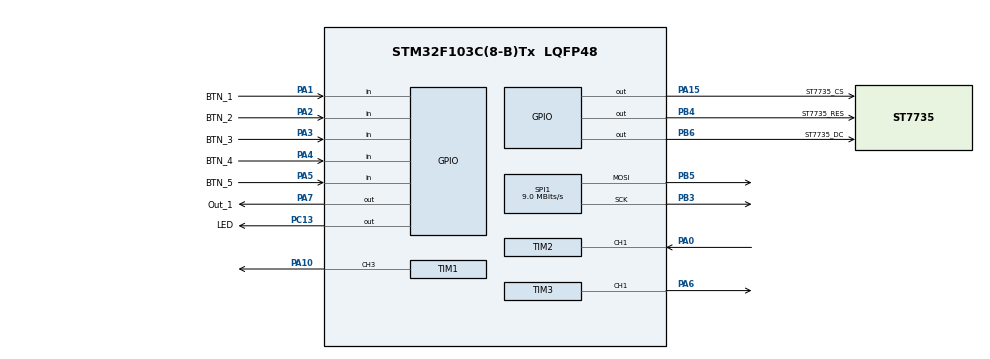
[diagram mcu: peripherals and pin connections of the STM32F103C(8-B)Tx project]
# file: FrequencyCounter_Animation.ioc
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Dma.Request0=TIM2_CH2/CH4
Dma.Request1=TIM2_CH1
Dma.TIM2_CH1.1.Direction=DMA_PERIPH_TO_MEMORY
Dma.TIM2_CH1.1.Instance=DMA1_Channel5
Dma.TIM2_CH1.1.MemDataAlignment=DMA_MDATAALIGN_HALFWORD
Dma.TIM2_CH1.1.MemInc=DMA_MINC_DISABLE
Dma.TIM2_CH1.1.Mode=DMA_CIRCULAR
Dma.TIM2_CH1.1.PeriphDataAlignment=DMA_PDATAALIGN_HALFWORD
Dma.TIM2_CH1.1.PeriphInc=DMA_PINC_DISABLE
Dma.TIM2_CH1.1.Priority=DMA_PRIORITY_VERY_HIGH
Dma.TIM2_CH2/CH4.0.Direction=DMA_PERIPH_TO_MEMORY
Dma.TIM2_CH2/CH4.0.Instance=DMA1_Channel7
Dma.TIM2_CH2/CH4.0.MemDataAlignment=DMA_MDATAALIGN_HALFWORD
Dma.TIM2_CH2/CH4.0.MemInc=DMA_MINC_DISABLE
Dma.TIM2_CH2/CH4.0.Mode=DMA_CIRCULAR
Dma.TIM2_CH2/CH4.0.PeriphDataAlignment=DMA_PDATAALIGN_HALFWORD
Dma.TIM2_CH2/CH4.0.PeriphInc=DMA_PINC_DISABLE
Dma.TIM2_CH2/CH4.0.Priority=DMA_PRIORITY_VERY_HIGH
Mcu.Family=STM32F1
Mcu.Name=STM32F103C(8-B)Tx
Mcu.Package=LQFP48
NVIC.PriorityGroup=NVIC_PRIORITYGROUP_4
PA0-WKUP.Signal=S_TIM2_CH1_ETR
PA1.GPIO_Label=BTN_1
PA1.Signal=GPIO_Input
PA10.Signal=S_TIM1_CH3
PA13.Mode=Serial_Wire
PA13.Signal=SYS_JTMS-SWDIO
PA14.Mode=Serial_Wire
PA14.Signal=SYS_JTCK-SWCLK
PA15.GPIO_Label=ST7735_CS
PA15.GPIO_Speed=GPIO_SPEED_FREQ_MEDIUM
PA15.Signal=GPIO_Output
PA2.GPIO_Label=BTN_2
PA2.Signal=GPIO_Input
PA3.GPIO_Label=BTN_3
PA3.Signal=GPIO_Input
PA4.GPIO_Label=BTN_4
PA4.Signal=GPIO_Input
PA5.GPIO_Label=BTN_5
PA5.Signal=GPIO_Input
PA6.GPIO_Speed=GPIO_SPEED_FREQ_HIGH
PA6.Signal=S_TIM3_CH1
PA7.GPIO_Label=Out_1
PA7.Signal=GPIO_Output
PB3.Mode=TX_Only_Simplex_Unidirect_Master
PB3.Signal=SPI1_SCK
PB4.GPIO_Label=ST7735_RES
PB4.GPIO_Speed=GPIO_SPEED_FREQ_MEDIUM
PB4.Signal=GPIO_Output
PB5.Mode=TX_Only_Simplex_Unidirect_Master
PB5.Signal=SPI1_MOSI
PB6.GPIO_Label=ST7735_DC
PB6.GPIO_Speed=GPIO_SPEED_FREQ_MEDIUM
PB6.Signal=GPIO_Output
PC13-TAMPER-RTC.GPIO_Label=LED
PC13-TAMPER-RTC.Signal=GPIO_Output
PC14-OSC32_IN.Mode=LSE-External-Oscillator
PC14-OSC32_IN.Signal=RCC_OSC32_IN
PC15-OSC32_OUT.Mode=LSE-External-Oscillator
PC15-OSC32_OUT.Signal=RCC_OSC32_OUT
PD0-OSC_IN.Mode=HSE-External-Oscillator
PD0-OSC_IN.Signal=RCC_OSC_IN
PD1-OSC_OUT.Mode=HSE-External-Oscillator
PD1-OSC_OUT.Signal=RCC_OSC_OUT
ProjectManager.HeapSize=0x200
ProjectManager.StackSize=0x400
ProjectManager.TargetToolchain=STM32CubeIDE
RCC.AHBFreq_Value=72000000
RCC.APB1CLKDivider=RCC_HCLK_DIV2
RCC.APB1Freq_Value=36000000
RCC.APB1TimFreq_Value=72000000
RCC.APB2Freq_Value=72000000
RCC.APB2TimFreq_Value=72000000
RCC.HCLKFreq_Value=72000000
RCC.PLLMUL=RCC_PLL_MUL9
RCC.PLLSourceVirtual=RCC_PLLSOURCE_HSE
RCC.SYSCLKFreq_VALUE=72000000
RCC.SYSCLKSource=RCC_SYSCLKSOURCE_PLLCLK
RCC.USBFreq_Value=72000000
SH.S_TIM1_CH3.0=TIM1_CH3,PWM Generation3 CH3
SH.S_TIM2_CH1_ETR.0=TIM2_CH1,TriggerSource_TI1FP1
SH.S_TIM2_CH1_ETR.1=TIM2_CH1,Input_Capture1_from_TI1
SH.S_TIM3_CH1.0=TIM3_CH1,PWM Generation1 CH1
SPI1.BaudRatePrescaler=SPI_BAUDRATEPRESCALER_8
SPI1.CLKPhase=SPI_PHASE_1EDGE
SPI1.CLKPolarity=SPI_POLARITY_LOW
SPI1.CalculateBaudRate=9.0 MBits/s
SPI1.Direction=SPI_DIRECTION_2LINES
SPI1.Mode=SPI_MODE_MASTER
SPI1.VirtualType=VM_MASTER
TIM1.Channel-PWM\ Generation3\ CH3=TIM_CHANNEL_3
TIM1.Period=71
TIM1.Pulse-PWM\ Generation3\ CH3=36
TIM2.Channel-Input_Capture1_from_TI1=TIM_CHANNEL_1
TIM2.Channel-Input_Capture2_from_TI1_63=TIM_CHANNEL_2
TIM2.ICPolarity_CH2=TIM_INPUTCHANNELPOLARITY_FALLING
TIM3.Channel-PWM\ Generation1\ CH1=TIM_CHANNEL_1
TIM3.Period=100
TIM3.Prescaler=71
TIM3.Pulse-PWM\ Generation1\ CH1=80
VP_TIM1_VS_ClockSourceINT.Mode=Internal
VP_TIM2_VS_ClockSourceINT.Mode=Internal
VP_TIM2_VS_ControllerModeReset.Mode=Reset Mode
VP_TIM2_VS_indirect_ch1.Mode=Input_Capture2_from_TI1_63
VP_TIM3_VS_ClockSourceINT.Mode=Internal
board=custom

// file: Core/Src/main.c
/* USER CODE BEGIN Header */
/**
  ******************************************************************************
  * @file           : main.c
  * @brief          : Main program body
  ******************************************************************************
  * @attention
  *
  * Copyright (c) 2026 STMicroelectronics.
  * All rights reserved.
  *
  * This software is licensed under terms that can be found in the LICENSE file
  * in the root directory of this software component.
  * If no LICENSE file comes with this software, it is provided AS-IS.
  *
  ******************************************************************************
  */
/* USER CODE END Header */
#include "main.h"

/* USER CODE BEGIN Includes */

#include <stdio.h>
#include <math.h>
#include <string.h>
#include "delay.h"
#include "st7735s_ll.h"
#include "FreeSans8pt7b.h"
#include "FreeSans9pt7b.h"
#include "FreeSans10pt7b.h"
#include "fonts.h"
#include "picts.h"
#include "fpCounter.h"

/* USER CODE END Includes */

/* USER CODE BEGIN PD */

//#define FPCOUNTER_TIM_USE_LL
//#define FPCOUNTER_USE_DMA

#define TIM2_MAX   0xFFFF
#define TIM2_CLK   72000000.0f
#define PRESCAALER 0

#define CLIMBER_W  13
#define CLIMBER_H  50

/* USER CODE END PD */

/* USER CODE BEGIN PV */
extern const tImage* StairmanFrames[28];

volatile uint8_t  cap_done      = 0;
volatile uint32_t msTick        = 0;
volatile uint32_t measure_timer = 0;
volatile uint8_t  measuring     = 0;
static uint32_t last_anim_ms    = 0;

double period;
uint32_t frequency;
float duty;

static uint8_t frame = 0;
static uint8_t frame_done = 0;
static uint8_t frame_action = 0;
static uint8_t frame_pause = 0;
static uint32_t anim_pause = 0;
static int anim_x = 112;
static int anim_y = 36;

/* USER CODE END PV */

void SystemClock_Config(void);
static void MX_GPIO_Init(void);
static void MX_DMA_Init(void);
static void MX_SPI1_Init(void);
static void MX_TIM3_Init(void);
static void MX_TIM1_Init(void);
static void MX_TIM2_Init(void);
/* USER CODE BEGIN PFP */

void format_frequency(float freq, char *buf);
void draw_frequency(float f);
void draw_duty(float d);
void draw_waveform(float duty);
void float_to_str(char *buf, float f);
char* itoa(int value, char* buffer, int base);
static inline uint32_t ic_diff(uint32_t newer, uint32_t older);
static inline float f_abs(float x);
void Stairman_Update(uint32_t tick);

/* USER CODE END PFP */

int main(void)
{

  /* MCU Configuration--------------------------------------------------------*/

  /* Reset of all peripherals, Initializes the Flash interface and the Systick. */
  LL_APB2_GRP1_EnableClock(LL_APB2_GRP1_PERIPH_AFIO);
  LL_APB1_GRP1_EnableClock(LL_APB1_GRP1_PERIPH_PWR);

  /* System interrupt init*/
  NVIC_SetPriorityGrouping(NVIC_PRIORITYGROUP_4);

  /* SysTick_IRQn interrupt configuration */
  NVIC_SetPriority(SysTick_IRQn, NVIC_EncodePriority(NVIC_GetPriorityGrouping(),15, 0));

  LL_GPIO_AF_Remap_SWJ_NOJTAG();

  /* Configure the system clock */
  SystemClock_Config();

  /* USER CODE BEGIN SysInit */
  SysTick_Config(SystemCoreClock / 1000);
  /* USER CODE END SysInit */

  /* Initialize all configured peripherals */
  MX_GPIO_Init();
  MX_DMA_Init();
  MX_SPI1_Init();
  MX_TIM3_Init();
  MX_TIM1_Init();
  MX_TIM2_Init();
  /* USER CODE BEGIN 2 */
  LL_TIM_EnableCounter(TIM1);
  LL_TIM_EnableAllOutputs(TIM1);

  LL_APB2_GRP1_EnableClock(LL_APB2_GRP1_PERIPH_GPIOA);

  LL_APB2_GRP1_EnableClock(LL_APB2_GRP1_PERIPH_GPIOB);
  LL_APB2_GRP1_EnableClock(LL_APB2_GRP1_PERIPH_SPI1);

  fpCounter_p_init();

  ST7735_Init();
  ST7735_SetRotation(0);

  ST7735_FillScreen(ST7735_WHITE);
  delay_ms(500);

  ST7735_FillScreen(ST7735_BLACK);
  delay_ms(500);

  /* USER CODE END 2 */

  /* Infinite loop */
  /* USER CODE BEGIN WHILE */
  while (1)
  {

	  //  Stairman_Update(40);
	  //  run animation every 40 ms, regardless of measuring

	  if ((msTick - last_anim_ms) >= 40)
	  {
	      last_anim_ms = msTick;
	      Stairman_Update(msTick);
	  }

	  if(frame_pause)// set pause
	  {
		  frame_pause = 0;
		  anim_pause = msTick;//set pause period
	  }
	  if(msTick - anim_pause > 4000)
	  {
		  if (frame_action == 2 && msTick - anim_pause > 4000)
		  {
		      frame_action = 3;   // start falling
		      frame = 0;
		  }

	  }
	  if (frame_action == 0 && msTick - anim_pause > 3000)
	  {
	      frame_action = 1;   // start climbing
	  }
#if 1
	  if (frame_done && (msTick - measure_timer) >= 250)
	  {
	      measure_timer = msTick;

	      fpCounter_p_get(&period, &frequency, &duty);

		  draw_frequency(frequency);
		  draw_duty(duty);
		  //draw_waveform(duty);
		  frame_done = 0;

      }

#endif

    /* USER CODE END WHILE */

  }
}

void SystemClock_Config(void)
{
  LL_FLASH_SetLatency(LL_FLASH_LATENCY_2);
  while(LL_FLASH_GetLatency()!= LL_FLASH_LATENCY_2)
  {
  }
  LL_RCC_HSE_Enable();

   /* Wait till HSE is ready */
  while(LL_RCC_HSE_IsReady() != 1)
  {

  }
  LL_RCC_PLL_ConfigDomain_SYS(LL_RCC_PLLSOURCE_HSE_DIV_1, LL_RCC_PLL_MUL_9);
  LL_RCC_PLL_Enable();

   /* Wait till PLL is ready */
  while(LL_RCC_PLL_IsReady() != 1)
  {

  }
  LL_RCC_SetAHBPrescaler(LL_RCC_SYSCLK_DIV_1);
  LL_RCC_SetAPB1Prescaler(LL_RCC_APB1_DIV_2);
  LL_RCC_SetAPB2Prescaler(LL_RCC_APB2_DIV_1);
  LL_RCC_SetSysClkSource(LL_RCC_SYS_CLKSOURCE_PLL);

   /* Wait till System clock is ready */
  while(LL_RCC_GetSysClkSource() != LL_RCC_SYS_CLKSOURCE_STATUS_PLL)
  {

  }
  LL_Init1msTick(72000000);
  LL_SetSystemCoreClock(72000000);
}

static void MX_SPI1_Init(void)
{

  LL_SPI_InitTypeDef SPI_InitStruct = {0};

  LL_GPIO_InitTypeDef GPIO_InitStruct = {0};

  /* Peripheral clock enable */
  LL_APB2_GRP1_EnableClock(LL_APB2_GRP1_PERIPH_SPI1);

  LL_APB2_GRP1_EnableClock(LL_APB2_GRP1_PERIPH_GPIOB);
  /**SPI1 GPIO Configuration
  PB3   ------> SPI1_SCK
  PB5   ------> SPI1_MOSI
  */
  GPIO_InitStruct.Pin = LL_GPIO_PIN_3|LL_GPIO_PIN_5;
  GPIO_InitStruct.Mode = LL_GPIO_MODE_ALTERNATE;
  GPIO_InitStruct.Speed = LL_GPIO_SPEED_FREQ_HIGH;
  GPIO_InitStruct.OutputType = LL_GPIO_OUTPUT_PUSHPULL;
  LL_GPIO_Init(GPIOB, &GPIO_InitStruct);

  LL_GPIO_AF_EnableRemap_SPI1();

  /* SPI1 parameter configuration*/
  SPI_InitStruct.TransferDirection = LL_SPI_FULL_DUPLEX;
  SPI_InitStruct.Mode = LL_SPI_MODE_MASTER;
  SPI_InitStruct.DataWidth = LL_SPI_DATAWIDTH_8BIT;
  SPI_InitStruct.ClockPolarity = LL_SPI_POLARITY_LOW;
  SPI_InitStruct.ClockPhase = LL_SPI_PHASE_1EDGE;
  SPI_InitStruct.NSS = LL_SPI_NSS_SOFT;
  SPI_InitStruct.BaudRate = LL_SPI_BAUDRATEPRESCALER_DIV8;
  SPI_InitStruct.BitOrder = LL_SPI_MSB_FIRST;
  SPI_InitStruct.CRCCalculation = LL_SPI_CRCCALCULATION_DISABLE;
  SPI_InitStruct.CRCPoly = 10;
  LL_SPI_Init(SPI1, &SPI_InitStruct);
  /* USER CODE BEGIN SPI1_Init 2 */
  LL_SPI_Enable(SPI1);
  /* USER CODE END SPI1_Init 2 */

}

static void MX_TIM1_Init(void)
{

  LL_TIM_InitTypeDef TIM_InitStruct = {0};
  LL_TIM_OC_InitTypeDef TIM_OC_InitStruct = {0};
  LL_TIM_BDTR_InitTypeDef TIM_BDTRInitStruct = {0};

  LL_GPIO_InitTypeDef GPIO_InitStruct = {0};

  /* Peripheral clock enable */
  LL_APB2_GRP1_EnableClock(LL_APB2_GRP1_PERIPH_TIM1);

  TIM_InitStruct.Prescaler = 0;
  TIM_InitStruct.CounterMode = LL_TIM_COUNTERMODE_UP;
  TIM_InitStruct.Autoreload = 35;
  TIM_InitStruct.ClockDivision = LL_TIM_CLOCKDIVISION_DIV1;
  TIM_InitStruct.RepetitionCounter = 0;
  LL_TIM_Init(TIM1, &TIM_InitStruct);
  LL_TIM_DisableARRPreload(TIM1);
  LL_TIM_SetClockSource(TIM1, LL_TIM_CLOCKSOURCE_INTERNAL);
  LL_TIM_OC_EnablePreload(TIM1, LL_TIM_CHANNEL_CH3);
  TIM_OC_InitStruct.OCMode = LL_TIM_OCMODE_PWM1;
  TIM_OC_InitStruct.OCState = LL_TIM_OCSTATE_DISABLE;
  TIM_OC_InitStruct.OCNState = LL_TIM_OCSTATE_DISABLE;
  TIM_OC_InitStruct.CompareValue = 18;
  TIM_OC_InitStruct.OCPolarity = LL_TIM_OCPOLARITY_HIGH;
  TIM_OC_InitStruct.OCNPolarity = LL_TIM_OCPOLARITY_HIGH;
  TIM_OC_InitStruct.OCIdleState = LL_TIM_OCIDLESTATE_LOW;
  TIM_OC_InitStruct.OCNIdleState = LL_TIM_OCIDLESTATE_LOW;
  LL_TIM_OC_Init(TIM1, LL_TIM_CHANNEL_CH3, &TIM_OC_InitStruct);
  LL_TIM_OC_DisableFast(TIM1, LL_TIM_CHANNEL_CH3);
  LL_TIM_SetTriggerOutput(TIM1, LL_TIM_TRGO_RESET);
  LL_TIM_DisableMasterSlaveMode(TIM1);
  TIM_BDTRInitStruct.OSSRState = LL_TIM_OSSR_DISABLE;
  TIM_BDTRInitStruct.OSSIState = LL_TIM_OSSI_DISABLE;
  TIM_BDTRInitStruct.LockLevel = LL_TIM_LOCKLEVEL_OFF;
  TIM_BDTRInitStruct.DeadTime = 0;
  TIM_BDTRInitStruct.BreakState = LL_TIM_BREAK_DISABLE;
  TIM_BDTRInitStruct.BreakPolarity = LL_TIM_BREAK_POLARITY_HIGH;
  TIM_BDTRInitStruct.AutomaticOutput = LL_TIM_AUTOMATICOUTPUT_DISABLE;
  LL_TIM_BDTR_Init(TIM1, &TIM_BDTRInitStruct);
  /* USER CODE BEGIN TIM1_Init 2 */
  LL_TIM_CC_EnableChannel(TIM1, LL_TIM_CHANNEL_CH3);
  LL_TIM_EnableAllOutputs(TIM1);
  LL_TIM_EnableCounter(TIM1);
  /* USER CODE END TIM1_Init 2 */
  LL_APB2_GRP1_EnableClock(LL_APB2_GRP1_PERIPH_GPIOA);
  /**TIM1 GPIO Configuration
  PA10   ------> TIM1_CH3
  */
  GPIO_InitStruct.Pin = LL_GPIO_PIN_10;
  GPIO_InitStruct.Mode = LL_GPIO_MODE_ALTERNATE;
  GPIO_InitStruct.Speed = LL_GPIO_SPEED_FREQ_LOW;
  GPIO_InitStruct.OutputType = LL_GPIO_OUTPUT_PUSHPULL;
  LL_GPIO_Init(GPIOA, &GPIO_InitStruct);

}

static void MX_TIM2_Init(void)
{

  LL_TIM_InitTypeDef TIM_InitStruct = {0};

  LL_GPIO_InitTypeDef GPIO_InitStruct = {0};

  /* Peripheral clock enable */
  LL_APB1_GRP1_EnableClock(LL_APB1_GRP1_PERIPH_TIM2);

  LL_APB2_GRP1_EnableClock(LL_APB2_GRP1_PERIPH_GPIOA);
  /**TIM2 GPIO Configuration
  PA0-WKUP   ------> TIM2_CH1
  */
  GPIO_InitStruct.Pin = LL_GPIO_PIN_0;
  GPIO_InitStruct.Mode = LL_GPIO_MODE_FLOATING;
  LL_GPIO_Init(GPIOA, &GPIO_InitStruct);

  /* TIM2 DMA Init */

  /* TIM2_CH2_CH4 Init */

  LL_DMA_SetDataTransferDirection(DMA1, LL_DMA_CHANNEL_7, LL_DMA_DIRECTION_PERIPH_TO_MEMORY);

  LL_DMA_SetChannelPriorityLevel(DMA1, LL_DMA_CHANNEL_7, LL_DMA_PRIORITY_VERYHIGH);

  LL_DMA_SetMode(DMA1, LL_DMA_CHANNEL_7, LL_DMA_MODE_CIRCULAR);

  LL_DMA_SetPeriphIncMode(DMA1, LL_DMA_CHANNEL_7, LL_DMA_PERIPH_NOINCREMENT);

  LL_DMA_SetMemoryIncMode(DMA1, LL_DMA_CHANNEL_7, LL_DMA_MEMORY_NOINCREMENT);

  LL_DMA_SetPeriphSize(DMA1, LL_DMA_CHANNEL_7, LL_DMA_PDATAALIGN_HALFWORD);

  LL_DMA_SetMemorySize(DMA1, LL_DMA_CHANNEL_7, LL_DMA_MDATAALIGN_HALFWORD);

  /* TIM2_CH1 Init */
  LL_DMA_SetDataTransferDirection(DMA1, LL_DMA_CHANNEL_5, LL_DMA_DIRECTION_PERIPH_TO_MEMORY);

  LL_DMA_SetChannelPriorityLevel(DMA1, LL_DMA_CHANNEL_5, LL_DMA_PRIORITY_VERYHIGH);

  LL_DMA_SetMode(DMA1, LL_DMA_CHANNEL_5, LL_DMA_MODE_CIRCULAR);

  LL_DMA_SetPeriphIncMode(DMA1, LL_DMA_CHANNEL_5, LL_DMA_PERIPH_NOINCREMENT);

  LL_DMA_SetMemoryIncMode(DMA1, LL_DMA_CHANNEL_5, LL_DMA_MEMORY_NOINCREMENT);

  LL_DMA_SetPeriphSize(DMA1, LL_DMA_CHANNEL_5, LL_DMA_PDATAALIGN_HALFWORD);

  LL_DMA_SetMemorySize(DMA1, LL_DMA_CHANNEL_5, LL_DMA_MDATAALIGN_HALFWORD);

  TIM_InitStruct.Prescaler = 0;
  TIM_InitStruct.CounterMode = LL_TIM_COUNTERMODE_UP;
  TIM_InitStruct.Autoreload = 65535;
  TIM_InitStruct.ClockDivision = LL_TIM_CLOCKDIVISION_DIV1;
  LL_TIM_Init(TIM2, &TIM_InitStruct);
  LL_TIM_DisableARRPreload(TIM2);
  LL_TIM_SetClockSource(TIM2, LL_TIM_CLOCKSOURCE_INTERNAL);
  LL_TIM_SetTriggerInput(TIM2, LL_TIM_TS_TI1FP1);
  LL_TIM_SetSlaveMode(TIM2, LL_TIM_SLAVEMODE_RESET);
  LL_TIM_IC_SetFilter(TIM2, LL_TIM_CHANNEL_CH1, LL_TIM_IC_FILTER_FDIV1);
  LL_TIM_IC_SetPolarity(TIM2, LL_TIM_CHANNEL_CH1, LL_TIM_IC_POLARITY_RISING);
  LL_TIM_DisableIT_TRIG(TIM2);
  LL_TIM_DisableDMAReq_TRIG(TIM2);
  LL_TIM_SetTriggerOutput(TIM2, LL_TIM_TRGO_RESET);
  LL_TIM_DisableMasterSlaveMode(TIM2);
  LL_TIM_IC_SetActiveInput(TIM2, LL_TIM_CHANNEL_CH1, LL_TIM_ACTIVEINPUT_DIRECTTI);
  LL_TIM_IC_SetPrescaler(TIM2, LL_TIM_CHANNEL_CH1, LL_TIM_ICPSC_DIV1);
  LL_TIM_IC_SetActiveInput(TIM2, LL_TIM_CHANNEL_CH2, LL_TIM_ACTIVEINPUT_INDIRECTTI);
  LL_TIM_IC_SetPrescaler(TIM2, LL_TIM_CHANNEL_CH2, LL_TIM_ICPSC_DIV1);
  LL_TIM_IC_SetFilter(TIM2, LL_TIM_CHANNEL_CH2, LL_TIM_IC_FILTER_FDIV1);
  LL_TIM_IC_SetPolarity(TIM2, LL_TIM_CHANNEL_CH2, LL_TIM_IC_POLARITY_FALLING);
  /* USER CODE BEGIN TIM2_Init 2 */
  // Disable filter on Channel 1 (Clear bits 7:4)
  TIM2->CCMR1 &= ~TIM_CCMR1_IC1F;
  // Disable filter on Channel 2 (Clear bits 15:12)
  TIM2->CCMR1 &= ~TIM_CCMR1_IC2F;
  //LL_TIM_IC_SetFilter(TIMx, LL_TIM_CHANNEL_CH1, 0);
  //LL_TIM_IC_SetFilter(TIMx, LL_TIM_CHANNEL_CH2, 0);

  /* USER CODE END TIM2_Init 2 */

}

static void MX_TIM3_Init(void)
{

  LL_TIM_InitTypeDef TIM_InitStruct = {0};
  LL_TIM_OC_InitTypeDef TIM_OC_InitStruct = {0};

  LL_GPIO_InitTypeDef GPIO_InitStruct = {0};

  /* Peripheral clock enable */
  LL_APB1_GRP1_EnableClock(LL_APB1_GRP1_PERIPH_TIM3);

  TIM_InitStruct.Prescaler = 71;
  TIM_InitStruct.CounterMode = LL_TIM_COUNTERMODE_UP;
  TIM_InitStruct.Autoreload = 100;
  TIM_InitStruct.ClockDivision = LL_TIM_CLOCKDIVISION_DIV1;
  LL_TIM_Init(TIM3, &TIM_InitStruct);
  LL_TIM_DisableARRPreload(TIM3);
  LL_TIM_SetClockSource(TIM3, LL_TIM_CLOCKSOURCE_INTERNAL);
  LL_TIM_OC_EnablePreload(TIM3, LL_TIM_CHANNEL_CH1);
  TIM_OC_InitStruct.OCMode = LL_TIM_OCMODE_PWM1;
  TIM_OC_InitStruct.OCState = LL_TIM_OCSTATE_DISABLE;
  TIM_OC_InitStruct.OCNState = LL_TIM_OCSTATE_DISABLE;
  TIM_OC_InitStruct.CompareValue = 80;
  TIM_OC_InitStruct.OCPolarity = LL_TIM_OCPOLARITY_HIGH;
  LL_TIM_OC_Init(TIM3, LL_TIM_CHANNEL_CH1, &TIM_OC_InitStruct);
  LL_TIM_OC_DisableFast(TIM3, LL_TIM_CHANNEL_CH1);
  LL_TIM_SetTriggerOutput(TIM3, LL_TIM_TRGO_RESET);
  LL_TIM_DisableMasterSlaveMode(TIM3);
  /* USER CODE BEGIN TIM3_Init 2 */
  LL_TIM_EnableCounter(TIM3);
  LL_TIM_CC_EnableChannel(TIM3, LL_TIM_CHANNEL_CH1);
  /* USER CODE END TIM3_Init 2 */
  LL_APB2_GRP1_EnableClock(LL_APB2_GRP1_PERIPH_GPIOA);
  /**TIM3 GPIO Configuration
  PA6   ------> TIM3_CH1
  */
  GPIO_InitStruct.Pin = LL_GPIO_PIN_6;
  GPIO_InitStruct.Mode = LL_GPIO_MODE_ALTERNATE;
  GPIO_InitStruct.Speed = LL_GPIO_SPEED_FREQ_HIGH;
  GPIO_InitStruct.OutputType = LL_GPIO_OUTPUT_PUSHPULL;
  LL_GPIO_Init(GPIOA, &GPIO_InitStruct);

}

static void MX_DMA_Init(void)
{

  /* Init with LL driver */
  /* DMA controller clock enable */
  LL_AHB1_GRP1_EnableClock(LL_AHB1_GRP1_PERIPH_DMA1);

}

static void MX_GPIO_Init(void)
{
  LL_GPIO_InitTypeDef GPIO_InitStruct = {0};

  /* GPIO Ports Clock Enable */
  LL_APB2_GRP1_EnableClock(LL_APB2_GRP1_PERIPH_GPIOC);
  LL_APB2_GRP1_EnableClock(LL_APB2_GRP1_PERIPH_GPIOD);
  LL_APB2_GRP1_EnableClock(LL_APB2_GRP1_PERIPH_GPIOA);
  LL_APB2_GRP1_EnableClock(LL_APB2_GRP1_PERIPH_GPIOB);

  /**/
  LL_GPIO_ResetOutputPin(LED_GPIO_Port, LED_Pin);

  /**/
  LL_GPIO_ResetOutputPin(GPIOA, Out_1_Pin|ST7735_CS_Pin);

  /**/
  LL_GPIO_ResetOutputPin(GPIOB, ST7735_RES_Pin|ST7735_DC_Pin);

  /**/
  GPIO_InitStruct.Pin = LED_Pin;
  GPIO_InitStruct.Mode = LL_GPIO_MODE_OUTPUT;
  GPIO_InitStruct.Speed = LL_GPIO_SPEED_FREQ_LOW;
  GPIO_InitStruct.OutputType = LL_GPIO_OUTPUT_PUSHPULL;
  LL_GPIO_Init(LED_GPIO_Port, &GPIO_InitStruct);

  /**/
  GPIO_InitStruct.Pin = BTN_1_Pin|BTN_2_Pin|BTN_3_Pin|BTN_4_Pin
                          |BTN_5_Pin;
  GPIO_InitStruct.Mode = LL_GPIO_MODE_FLOATING;
  LL_GPIO_Init(GPIOA, &GPIO_InitStruct);

  /**/
  GPIO_InitStruct.Pin = Out_1_Pin;
  GPIO_InitStruct.Mode = LL_GPIO_MODE_OUTPUT;
  GPIO_InitStruct.Speed = LL_GPIO_SPEED_FREQ_LOW;
  GPIO_InitStruct.OutputType = LL_GPIO_OUTPUT_PUSHPULL;
  LL_GPIO_Init(Out_1_GPIO_Port, &GPIO_InitStruct);

  /**/
  GPIO_InitStruct.Pin = ST7735_CS_Pin;
  GPIO_InitStruct.Mode = LL_GPIO_MODE_OUTPUT;
  GPIO_InitStruct.Speed = LL_GPIO_SPEED_FREQ_MEDIUM;
  GPIO_InitStruct.OutputType = LL_GPIO_OUTPUT_PUSHPULL;
  LL_GPIO_Init(ST7735_CS_GPIO_Port, &GPIO_InitStruct);

  /**/
  GPIO_InitStruct.Pin = ST7735_RES_Pin|ST7735_DC_Pin;
  GPIO_InitStruct.Mode = LL_GPIO_MODE_OUTPUT;
  GPIO_InitStruct.Speed = LL_GPIO_SPEED_FREQ_MEDIUM;
  GPIO_InitStruct.OutputType = LL_GPIO_OUTPUT_PUSHPULL;
  LL_GPIO_Init(GPIOB, &GPIO_InitStruct);

}

/* USER CODE BEGIN 4 */

static inline uint32_t ic_diff(uint32_t newer, uint32_t older)
{
    return (newer - older) & 0xFFFF;
}

#if 0
static inline uint32_t ic_diff(uint32_t a, uint32_t b)
{
    return (a - b) & 0xFFFF;
}
#endif

void format_frequency(float freq, char *buf)
{
    char num[16];

    if (freq >= 1000000.0f) {
        float_to_str(num, freq / 1000000.0f);
        strcpy(buf, num);
        strcat(buf, " MHz");
    }
    else if (freq >= 1000.0f) {
        float_to_str(num, freq / 1000.0f);
        strcpy(buf, num);
        strcat(buf, " kHz");
    }
    else {
        // integer Hz
        itoa((int)freq, num, 10);
        strcpy(buf, num);
        strcat(buf, " Hz");
    }
}

void draw_frequency(float freq)
{
    char buf[32];
    format_frequency(freq, buf);

    ST7735_FillRect(0, 0, 160, 20, ST7735_BLACK);
    DrawString_GFX(0, 13, buf, &FreeSans8pt7b, ST7735_WHITE, ST7735_BLACK);
}

void draw_duty(float duty)
{
    char buf[32];

    float percent = duty * 100.0f;
    float_to_str(buf, percent);
    strcat(buf, " %");

    ST7735_FillRect(0, 20, 160, 20, ST7735_BLACK);
    DrawString_GFX(2, 28, buf, &FreeSans8pt7b, ST7735_CYAN, ST7735_BLACK);
    //ST7735_DrawString(buf, 2, 21, &Font_8x10, ST7735_CYAN, ST7735_BLUE);
}

void draw_waveform(float duty)
{
    if (duty < 0.0f) duty = 0.0f;
    if (duty > 1.0f) duty = 1.0f;

    int w = 160;
    int h = 40;
    int x = 0;
    int y = 40;

    int high_pixels = (int)(duty * w);

    // Clamp to valid range
    if (high_pixels < 0) high_pixels = 0;
    if (high_pixels > w) high_pixels = w;

    // Clear area
    ST7735_FillRect(x, y, w, h, ST7735_BLACK);

    int mid = y + h/2;

    // Rising edge
    ST7735_DrawLine(x, mid, x, y, ST7735_GREEN);

    // High level
    ST7735_DrawLine(x, y, x + high_pixels, y, ST7735_GREEN);

    // Falling edge
    ST7735_DrawLine(x + high_pixels, y, x + high_pixels, mid, ST7735_RED);

    // Low level
    ST7735_DrawLine(x + high_pixels, mid, x + w, mid, ST7735_RED);
}

void float_to_str(char *buf, float f)
{
    int whole = (int)f;
    int frac = (int)((f - whole) * 100);

    if (frac < 0) frac = -frac;

    itoa(whole, buf, 10);
    int len = strlen(buf);

    buf[len++] = '.';
    buf[len++] = '0' + (frac / 10);
    buf[len++] = '0' + (frac % 10);
    buf[len] = 0;
}

char* itoa(int value, char* buffer, int base)
{
    char* ptr = buffer;
    char* ptr1 = buffer;
    char tmp_char;
    int tmp_value;

    if (value < 0 && base == 10) {
        value = -value;
        *ptr++ = '-';
        ptr1++;
    }

    do {
        tmp_value = value;
        value /= base;
        *ptr++ = "0123456789ABCDEF"[tmp_value - value * base];
    } while (value);

    *ptr-- = '\0';

    while (ptr1 < ptr) {
        tmp_char = *ptr;
        *ptr-- = *ptr1;
        *ptr1++ = tmp_char;
    }

    return buffer;
}
static inline float f_abs(float x)
{
    return (x < 0.0f) ? -x : x;
}

#if 1
void Stairman_Update(uint32_t tick)
{
    static uint32_t last = 0;

    const uint32_t frameDuration = 40;

    if (tick - last >= frameDuration)
    {
        last = tick;

        int fw = StairmanFrames[frame]->width;
        int fh = StairmanFrames[frame]->height;

        if (fw < 0) fw = 0;
        if (fw > 160) fw = 160;

        if (fh < 0) fh = 0;
        if (fh > 80) fh = 80;

        ST7735_FillRect(anim_x - 2, anim_y, CLIMBER_W, CLIMBER_H, ST7735_BLACK);

        ST7735_DrawBitmapMonoTransparent(anim_x, anim_y, StairmanFrames[frame], 0xFFFF);

        if(frame_action == 0)//wait at bottom
        {
        	DrawString_GFX(0, 42, "Need STM32 ", &FreeSans8pt7b, ST7735_WHITE, ST7735_BLACK);
        	DrawString_GFX(0, 60, "help?", &FreeSans8pt7b, ST7735_WHITE, ST7735_BLACK);
        	DrawString_GFX(0, 78, "Hire me.", &FreeSans8pt7b, ST7735_WHITE, ST7735_BLACK);

        	anim_y = 36;
        	anim_x = 112;
        	frame = 0;
        }
        if(frame_action == 1) // climbing
        {
        	if(frame <= 2)
        	{

        		// wipe all 3 lines
        		ST7735_FillRect(0, 42 - 12, 160, 16, ST7735_BLACK); // line 1
        		ST7735_FillRect(0, 60 - 12, 160, 16, ST7735_BLACK); // line 2
        		ST7735_FillRect(0, 78 - 12, 160, 16, ST7735_BLACK); // line 3
        	}
        	frame++;

            if(frame > 28)   // last valid climbing frame
            {
                frame = 28;
                frame_action = 2;
                frame_pause = 1;
            }

            anim_x += 1;
            anim_y -= 1;
        }

        if (frame_action == 2)//stop at the top
        {
        	DrawString_GFX(0, 44, "Or hire higher me!", &FreeSans8pt7b, ST7735_YELLOW, ST7735_BLACK);
        	frame = 0;
        }
        if (frame_action == 3)  // falling
        {
        	ST7735_FillRect(0, 44 - 12, 126, 16, ST7735_BLACK);// text wipe
            frame++;
            ST7735_FillRect(anim_x + 2, anim_y, CLIMBER_W, CLIMBER_H, ST7735_BLACK);
            if (frame > 1) frame = 0;   // toggle between 0 and 1

            anim_y += 3;   // fall faster than climb
            anim_x -= 1;   // drift left slightly (optional)

            if (anim_y >= 36)   // reached bottom
            {
            	ST7735_FillRect(anim_x , anim_y, CLIMBER_W, CLIMBER_H, ST7735_BLACK);
                anim_y = 36;
                anim_x = 112;
                frame_action = 0;      // bottom wait
                anim_pause = msTick;   // start bottom pause timer
            }
        }

        frame_done = 1;
    }
}
#endif

/* USER CODE END 4 */

void Error_Handler(void)
{
  __disable_irq();
  while (1)
  {
  }
}
